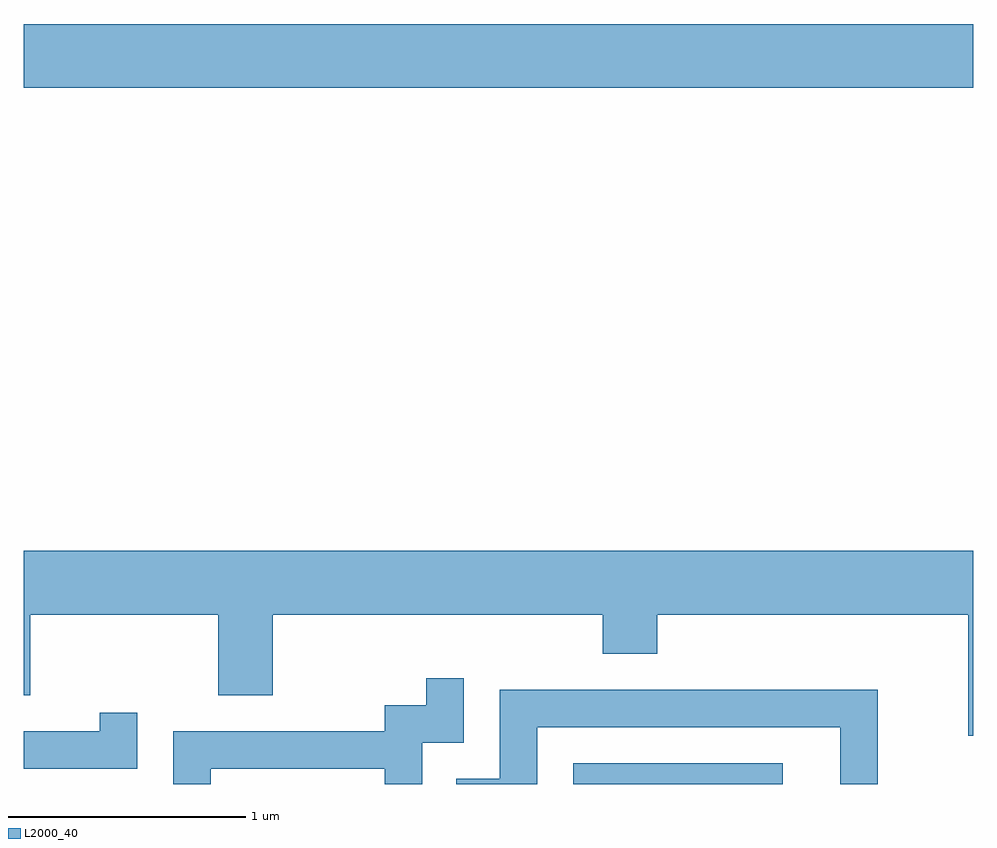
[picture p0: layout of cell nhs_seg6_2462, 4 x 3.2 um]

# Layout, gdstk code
import gdstk
lib = gdstk.Library(unit=1e-6, precision=1e-09)
def R(c, l, rs):  # rectangles x0, y0, x1, y1
    for r in rs: c.add(gdstk.rectangle(r[:2], r[2:], *l))
def P(c, l, *ps):  # polygons
    for p in ps: c.add(gdstk.Polygon(p, *l))
L2000_40 = (2000, 40)

nhs_seg6_2462 = lib.new_cell('nhs_seg6_2462')
R(nhs_seg6_2462, L2000_40, [(261.926,1598.162,262.808,1598.249), (259.611,1601.096,263.611,1601.364)])
P(nhs_seg6_2462, L2000_40, [(263.611,1599.144),(259.611,1599.144),(259.611,1598.536),(259.639,1598.536),(259.639,1598.876),(260.431,1598.876),(260.431,1598.536),(260.659,1598.536),(260.659,1598.876),(262.051,1598.876),(262.051,1598.711),(262.279,1598.711),(262.279,1598.876),(263.591,1598.876),(263.591,1598.366),(263.611,1598.366)],
  [(260.399,1598.226),(261.131,1598.226),(261.131,1598.162),(261.289,1598.162),(261.289,1598.336),(261.464,1598.336),(261.464,1598.608),(261.306,1598.608),(261.306,1598.494),(261.131,1598.494),(261.131,1598.384),(260.241,1598.384),(260.241,1598.162),(260.399,1598.162)],
  [(261.774,1598.401),(263.051,1598.401),(263.051,1598.162),(263.209,1598.162),(263.209,1598.559),(261.616,1598.559),(261.616,1598.184),(261.433,1598.184),(261.433,1598.162),(261.774,1598.162)],
  [(260.089,1598.463),(259.931,1598.463),(259.931,1598.384),(259.611,1598.384),(259.611,1598.226),(260.089,1598.226)])

lib.write_gds('nhs_seg6_2462.gds')
